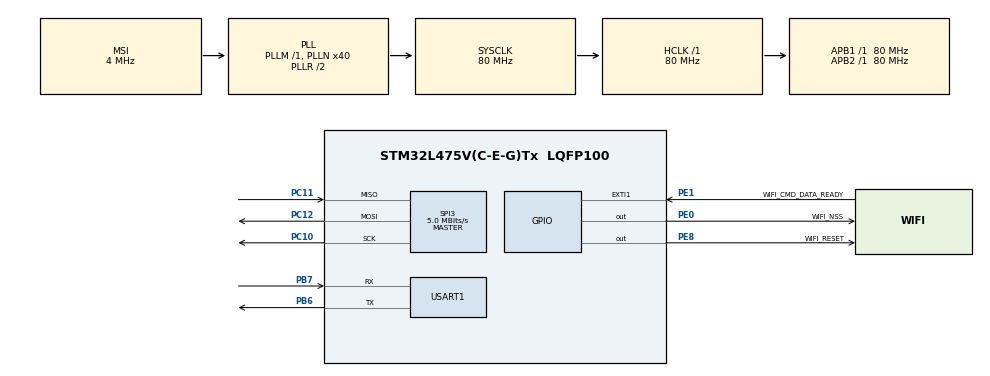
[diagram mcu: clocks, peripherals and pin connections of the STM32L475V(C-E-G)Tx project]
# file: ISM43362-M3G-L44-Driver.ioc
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Mcu.Family=STM32L4
Mcu.Name=STM32L475V(C-E-G)Tx
Mcu.Package=LQFP100
NVIC.EXTI1_IRQn=true\:0\:0\:false\:false\:true\:true\:true
NVIC.PriorityGroup=NVIC_PRIORITYGROUP_4
PB6.Mode=Asynchronous
PB6.Signal=USART1_TX
PB7.Mode=Asynchronous
PB7.Signal=USART1_RX
PC10.Mode=Full_Duplex_Master
PC10.Signal=SPI3_SCK
PC11.Mode=Full_Duplex_Master
PC11.Signal=SPI3_MISO
PC12.Mode=Full_Duplex_Master
PC12.Signal=SPI3_MOSI
PE0.GPIO_Label=WIFI_NSS
PE0.Signal=GPIO_Output
PE1.GPIO_Label=WIFI_CMD_DATA_READY
PE1.GPIO_ModeDefaultEXTI=GPIO_MODE_IT_RISING_FALLING
PE1.Signal=GPXTI1
PE8.GPIO_Label=WIFI_RESET
PE8.Signal=GPIO_Output
ProjectManager.HeapSize=0x200
ProjectManager.StackSize=0x400
ProjectManager.TargetToolchain=STM32CubeIDE
RCC.ADCFreq_Value=48000000
RCC.AHBFreq_Value=80000000
RCC.APB1Freq_Value=80000000
RCC.APB1TimFreq_Value=80000000
RCC.APB2Freq_Value=80000000
RCC.APB2TimFreq_Value=80000000
RCC.CortexFreq_Value=80000000
RCC.HCLKFreq_Value=80000000
RCC.HSE_VALUE=8000000
RCC.HSI_VALUE=16000000
RCC.LSE_VALUE=32768
RCC.MSI_VALUE=4000000
RCC.PLLN=40
RCC.PLLSAI1N=24
RCC.SYSCLKFreq_VALUE=80000000
RCC.SYSCLKSource=RCC_SYSCLKSOURCE_PLLCLK
RCC.USBFreq_Value=48000000
RCC.VCOOutputFreq_Value=160000000
SPI3.BaudRatePrescaler=SPI_BAUDRATEPRESCALER_16
SPI3.CalculateBaudRate=5.0 MBits/s
SPI3.DataSize=SPI_DATASIZE_16BIT
SPI3.Direction=SPI_DIRECTION_2LINES
SPI3.Mode=SPI_MODE_MASTER
SPI3.VirtualType=VM_MASTER
USART1.VirtualMode-Asynchronous=VM_ASYNC
board=B-L475E-IOT01A1

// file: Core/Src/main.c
/* USER CODE BEGIN Header */
/**
  ******************************************************************************
  * @file           : main.c
  * @brief          : Main program body
  ******************************************************************************
  * @attention
  *
  * <h2><center>&copy; Copyright (c) 2020 STMicroelectronics.
  * All rights reserved.</center></h2>
  *
  * This software component is licensed by ST under BSD 3-Clause license,
  * the "License"; You may not use this file except in compliance with the
  * License. You may obtain a copy of the License at:
  *                        opensource.org/licenses/BSD-3-Clause
  *
  ******************************************************************************
  */
/* USER CODE END Header */

#include "main.h"

/* USER CODE BEGIN Includes */
#include "wifi.h"
/* USER CODE END Includes */

/* USER CODE BEGIN PD */
#define TX_BUFFER_SIZE 1024
#define RX_BUFFER_SIZE 1024
#define TX_TIMEOUT 2000
#define RX_TIMEOUT 2000
/* USER CODE END PD */

SPI_HandleTypeDef hspi3;

UART_HandleTypeDef huart1;

/* USER CODE BEGIN PV */
uint8_t txBuffer[TX_BUFFER_SIZE];
uint8_t rxBuffer[RX_BUFFER_SIZE];

WIFI_HandleTypeDef hwifi;

char ssid[] = "HSPP";
char passphrase[] = "michel11";

__IO FlagStatus cmdDataReady = 0;
/* USER CODE END PV */

void SystemClock_Config(void);
static void MX_GPIO_Init(void);
static void MX_SPI3_Init(void);
static void MX_USART1_UART_Init(void);
/* USER CODE BEGIN PFP */
static void WIFI_Init_main(void);
/* USER CODE END PFP */

int main(void)
{

  /* MCU Configuration--------------------------------------------------------*/

  /* Reset of all peripherals, Initializes the Flash interface and the Systick. */
  HAL_Init();

  /* Configure the system clock */
  SystemClock_Config();

  /* Initialize all configured peripherals */
  MX_GPIO_Init();
  MX_SPI3_Init();
  MX_USART1_UART_Init();
  /* USER CODE BEGIN 2 */

  WIFI_Init_main();

  WIFI_JoinNetwork(&hwifi);

  /* USER CODE END 2 */

  /* Infinite loop */
  while (1)
  {

  }
}

void SystemClock_Config(void)
{
  RCC_OscInitTypeDef RCC_OscInitStruct = {0};
  RCC_ClkInitTypeDef RCC_ClkInitStruct = {0};
  RCC_PeriphCLKInitTypeDef PeriphClkInit = {0};

  /** Initializes the CPU, AHB and APB busses clocks
  */
  RCC_OscInitStruct.OscillatorType = RCC_OSCILLATORTYPE_MSI;
  RCC_OscInitStruct.MSIState = RCC_MSI_ON;
  RCC_OscInitStruct.MSICalibrationValue = 0;
  RCC_OscInitStruct.MSIClockRange = RCC_MSIRANGE_6;
  RCC_OscInitStruct.PLL.PLLState = RCC_PLL_ON;
  RCC_OscInitStruct.PLL.PLLSource = RCC_PLLSOURCE_MSI;
  RCC_OscInitStruct.PLL.PLLM = 1;
  RCC_OscInitStruct.PLL.PLLN = 40;
  RCC_OscInitStruct.PLL.PLLP = RCC_PLLP_DIV7;
  RCC_OscInitStruct.PLL.PLLQ = RCC_PLLQ_DIV2;
  RCC_OscInitStruct.PLL.PLLR = RCC_PLLR_DIV2;
  if (HAL_RCC_OscConfig(&RCC_OscInitStruct) != HAL_OK)
  {
    Error_Handler();
  }
  /** Initializes the CPU, AHB and APB busses clocks
  */
  RCC_ClkInitStruct.ClockType = RCC_CLOCKTYPE_HCLK|RCC_CLOCKTYPE_SYSCLK
                              |RCC_CLOCKTYPE_PCLK1|RCC_CLOCKTYPE_PCLK2;
  RCC_ClkInitStruct.SYSCLKSource = RCC_SYSCLKSOURCE_PLLCLK;
  RCC_ClkInitStruct.AHBCLKDivider = RCC_SYSCLK_DIV1;
  RCC_ClkInitStruct.APB1CLKDivider = RCC_HCLK_DIV1;
  RCC_ClkInitStruct.APB2CLKDivider = RCC_HCLK_DIV1;

  if (HAL_RCC_ClockConfig(&RCC_ClkInitStruct, FLASH_LATENCY_4) != HAL_OK)
  {
    Error_Handler();
  }
  PeriphClkInit.PeriphClockSelection = RCC_PERIPHCLK_USART1;
  PeriphClkInit.Usart1ClockSelection = RCC_USART1CLKSOURCE_PCLK2;
  if (HAL_RCCEx_PeriphCLKConfig(&PeriphClkInit) != HAL_OK)
  {
    Error_Handler();
  }
  /** Configure the main internal regulator output voltage
  */
  if (HAL_PWREx_ControlVoltageScaling(PWR_REGULATOR_VOLTAGE_SCALE1) != HAL_OK)
  {
    Error_Handler();
  }
}

static void MX_SPI3_Init(void)
{

  /* SPI3 parameter configuration*/
  hspi3.Instance = SPI3;
  hspi3.Init.Mode = SPI_MODE_MASTER;
  hspi3.Init.Direction = SPI_DIRECTION_2LINES;
  hspi3.Init.DataSize = SPI_DATASIZE_16BIT;
  hspi3.Init.CLKPolarity = SPI_POLARITY_LOW;
  hspi3.Init.CLKPhase = SPI_PHASE_1EDGE;
  hspi3.Init.NSS = SPI_NSS_SOFT;
  hspi3.Init.BaudRatePrescaler = SPI_BAUDRATEPRESCALER_16;
  hspi3.Init.FirstBit = SPI_FIRSTBIT_MSB;
  hspi3.Init.TIMode = SPI_TIMODE_DISABLE;
  hspi3.Init.CRCCalculation = SPI_CRCCALCULATION_DISABLE;
  hspi3.Init.CRCPolynomial = 7;
  hspi3.Init.CRCLength = SPI_CRC_LENGTH_DATASIZE;
  hspi3.Init.NSSPMode = SPI_NSS_PULSE_ENABLE;
  if (HAL_SPI_Init(&hspi3) != HAL_OK)
  {
    Error_Handler();
  }

}

static void MX_USART1_UART_Init(void)
{

  huart1.Instance = USART1;
  huart1.Init.BaudRate = 115200;
  huart1.Init.WordLength = UART_WORDLENGTH_8B;
  huart1.Init.StopBits = UART_STOPBITS_1;
  huart1.Init.Parity = UART_PARITY_NONE;
  huart1.Init.Mode = UART_MODE_TX_RX;
  huart1.Init.HwFlowCtl = UART_HWCONTROL_NONE;
  huart1.Init.OverSampling = UART_OVERSAMPLING_16;
  huart1.Init.OneBitSampling = UART_ONE_BIT_SAMPLE_DISABLE;
  huart1.AdvancedInit.AdvFeatureInit = UART_ADVFEATURE_NO_INIT;
  if (HAL_UART_Init(&huart1) != HAL_OK)
  {
    Error_Handler();
  }

}

static void MX_GPIO_Init(void)
{
  GPIO_InitTypeDef GPIO_InitStruct = {0};

  /* GPIO Ports Clock Enable */
  __HAL_RCC_GPIOE_CLK_ENABLE();
  __HAL_RCC_GPIOC_CLK_ENABLE();
  __HAL_RCC_GPIOB_CLK_ENABLE();

  /*Configure GPIO pin Output Level */
  HAL_GPIO_WritePin(GPIOE, WIFI_RESET_Pin|WIFI_NSS_Pin, GPIO_PIN_RESET);

  /*Configure GPIO pins : WIFI_RESET_Pin WIFI_NSS_Pin */
  GPIO_InitStruct.Pin = WIFI_RESET_Pin|WIFI_NSS_Pin;
  GPIO_InitStruct.Mode = GPIO_MODE_OUTPUT_PP;
  GPIO_InitStruct.Pull = GPIO_NOPULL;
  GPIO_InitStruct.Speed = GPIO_SPEED_FREQ_LOW;
  HAL_GPIO_Init(GPIOE, &GPIO_InitStruct);

  /*Configure GPIO pin : WIFI_CMD_DATA_READY_Pin */
  GPIO_InitStruct.Pin = WIFI_CMD_DATA_READY_Pin;
  GPIO_InitStruct.Mode = GPIO_MODE_IT_RISING_FALLING;
  GPIO_InitStruct.Pull = GPIO_NOPULL;
  HAL_GPIO_Init(WIFI_CMD_DATA_READY_GPIO_Port, &GPIO_InitStruct);

  /* EXTI interrupt init*/
  HAL_NVIC_SetPriority(EXTI1_IRQn, 0, 0);
  HAL_NVIC_EnableIRQ(EXTI1_IRQn);

}

/* USER CODE BEGIN 4 */

static void WIFI_Init_main(){

	hwifi.handle = &hspi3;
	hwifi.ssid = ssid;
	hwifi.passphrase = passphrase;
	hwifi.securityType = WPA_MIXED;
	hwifi.DHCP = SET;
	hwifi.ipStatus = IP_V4;
	hwifi.transportProtocol = WIFI_TCP_PROTOCOL;
	hwifi.port = 8080;

	WIFI_Init(&hwifi);
}

void HAL_GPIO_EXTI_Callback(uint16_t GPIO_Pin){

	if(GPIO_Pin == WIFI_CMD_DATA_READY_Pin){
		cmdDataReady = HAL_GPIO_ReadPin(WIFI_CMD_DATA_READY_GPIO_Port, WIFI_CMD_DATA_READY_Pin);
	}
}

/* USER CODE END 4 */

void Error_Handler(void)
{
}

/************************ (C) COPYRIGHT STMicroelectronics *****END OF FILE****/
